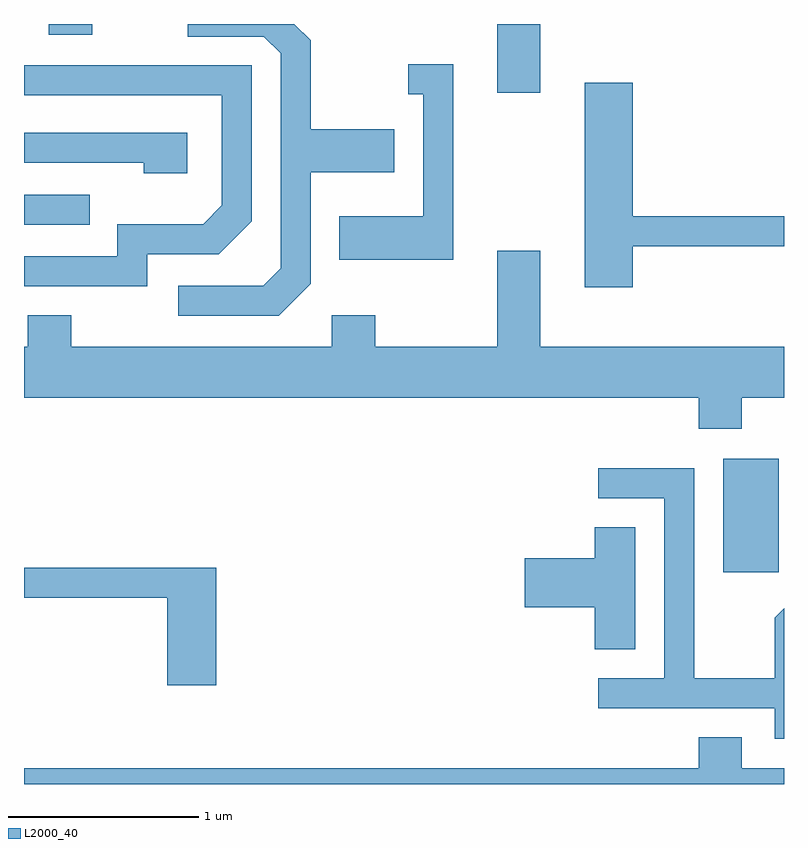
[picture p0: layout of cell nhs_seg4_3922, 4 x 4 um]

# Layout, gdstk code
import gdstk
lib = gdstk.Library(unit=1e-6, precision=1e-09)
def R(c, l, rs):  # rectangles x0, y0, x1, y1
    for r in rs: c.add(gdstk.rectangle(r[:2], r[2:], *l))
def P(c, l, *ps):  # polygons
    for p in ps: c.add(gdstk.Polygon(p, *l))
L2000_40 = (2000, 40)

nhs_seg4_3922 = lib.new_cell('nhs_seg4_3922')
R(nhs_seg4_3922, L2000_40, [(303.291,1347.096,303.584,1347.694), (299.611,1348.926,299.958,1349.084), (302.101,1349.621,302.329,1349.982), (299.741,1349.926,299.969,1349.982)])
P(nhs_seg4_3922, L2000_40, [(301.119,1348.614),(301.119,1349.201),(301.559,1349.201),(301.559,1349.429),(301.119,1349.429),(301.119,1349.897),(301.034,1349.982),(300.473,1349.982),(300.473,1349.916),(300.874,1349.916),(300.961,1349.829),(300.961,1348.697),(300.869,1348.604),(300.423,1348.604),(300.423,1348.446),(300.952,1348.446)],
  [(301.869,1349.769),(301.633,1349.769),(301.633,1349.611),(301.711,1349.611),(301.711,1348.969),(301.271,1348.969),(301.271,1348.741),(301.869,1348.741)],
  [(300.259,1348.771),(300.637,1348.771),(300.809,1348.944),(300.809,1349.764),(299.611,1349.764),(299.611,1349.606),(300.651,1349.606),(300.651,1349.027),(300.554,1348.929),(300.101,1348.929),(300.101,1348.759),(299.611,1348.759),(299.611,1348.601),(300.259,1348.601)],
  [(302.814,1348.811),(303.611,1348.811),(303.611,1348.969),(302.814,1348.969),(302.814,1349.674),(302.561,1349.674),(302.561,1348.596),(302.814,1348.596)],
  [(300.469,1349.409),(299.611,1349.409),(299.611,1349.251),(300.241,1349.251),(300.241,1349.196),(300.469,1349.196)],
  [(303.161,1347.851),(303.389,1347.851),(303.389,1348.016),(303.611,1348.016),(303.611,1348.284),(302.329,1348.284),(302.329,1348.789),(302.101,1348.789),(302.101,1348.284),(301.459,1348.284),(301.459,1348.449),(301.231,1348.449),(301.231,1348.284),(299.859,1348.284),(299.859,1348.449),(299.631,1348.449),(299.631,1348.284),(299.611,1348.284),(299.611,1348.016),(303.161,1348.016)],
  [(303.611,1346.907),(303.561,1346.857),(303.561,1346.539),(303.139,1346.539),(303.139,1347.644),(302.633,1347.644),(302.633,1347.486),(302.981,1347.486),(302.981,1346.539),(302.633,1346.539),(302.633,1346.381),(303.561,1346.381),(303.561,1346.221),(303.611,1346.221)],
  [(302.829,1347.334),(302.616,1347.334),(302.616,1347.169),(302.246,1347.169),(302.246,1346.911),(302.616,1346.911),(302.616,1346.691),(302.829,1346.691)],
  [(300.624,1347.119),(299.611,1347.119),(299.611,1346.961),(300.366,1346.961),(300.366,1346.501),(300.624,1346.501)],
  [(303.611,1346.064),(303.389,1346.064),(303.389,1346.229),(303.161,1346.229),(303.161,1346.064),(299.611,1346.064),(299.611,1345.982),(303.611,1345.982)])

lib.write_gds('nhs_seg4_3922.gds')
